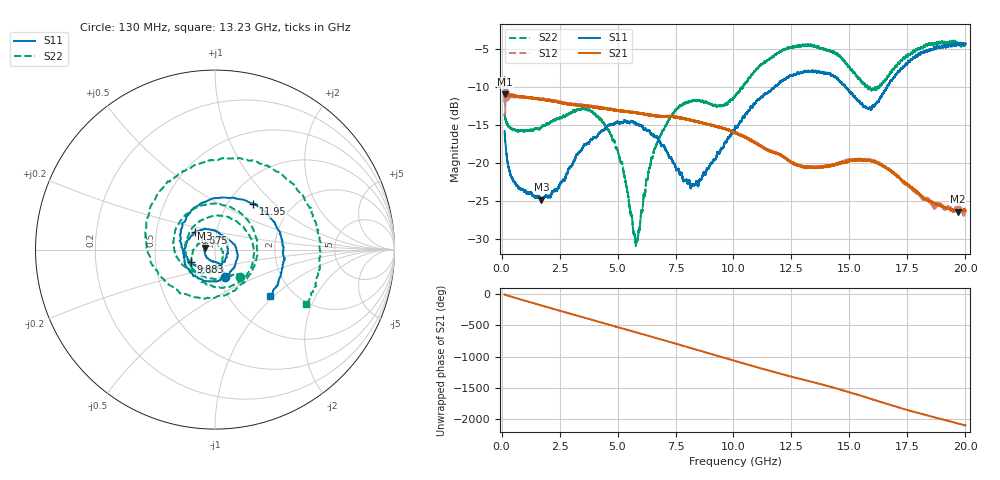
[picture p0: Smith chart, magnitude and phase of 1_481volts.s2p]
!Created with skrf (http://scikit-rf.org).
# GHz S RI R 50.0
!freq ReS11 ImS11 ReS21 ImS21 ReS12 ImS12 ReS22 ImS22
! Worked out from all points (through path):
!   20013 points, 130 MHz to 20 GHz, reference 50 ohm
!   highest |S21| = -10.97 dB at 158 MHz (marker M1); lowest = -26.4 dB at 19.67 GHz (marker M2)
!   group delay of S21, straight-line fit = 292 ps
!   lowest |S11| = -24.8 dB at 1.717 GHz (marker M3), VSWR 1.12, Z = 44.6 + j0.794 ohm
!   |S11| at or under -10 dB: start of sweep to 11.78 GHz; 11.78128 GHz to 11.78365 GHz (2.372 MHz wide, 0.0201 % of centre); 14.83 GHz to 16.62 GHz (1.796 GHz wide, 11.4 % of centre)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
!   |S22| runs from -31.0 to -3.9 dB; largest |S21 - S12| = 0.097
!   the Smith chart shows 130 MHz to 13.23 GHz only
!   S11 on the Smith chart (normalised r, x): 130 MHz: 1.07, -0.33; 6.675 GHz: 0.79, +0.15; 9.883 GHz: 0.76, -0.11; 11.95 GHz: 1.30, +0.74; 13.23 GHz: 1.54, -0.94
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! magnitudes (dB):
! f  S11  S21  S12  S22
! 130 MHz  -15.8  -11.1  -12.1  -13.7
! 158 MHz  -17.2  -11.0  -13.6  -14.2
! 570 MHz  -22.5  -11.2  -11.3  -15.7
! 1.717 GHz  -24.8  -11.7  -11.7  -15.4
! 3.442 GHz  -18.3  -12.5  -12.4  -13.0
! 4.918 GHz  -14.7  -13.1  -13.0  -18.0
! 5.261 GHz  -14.6  -13.3  -13.2  -21.3
! 5.789 GHz  -14.9  -13.4  -13.4  -30.6
! 6.675 GHz  -16.7  -13.9  -13.8  -17.6
! 6.754 GHz  -16.9  -13.9  -13.9  -17.1
! 8.232 GHz  -22.8  -14.4  -14.5  -11.9
! 9.883 GHz  -16.4  -15.8  -15.8  -11.7
! 10.06 GHz  -15.4  -16.0  -16.0  -11.3
! 11.95 GHz  -9.6  -18.9  -18.8  -5.5
! 13.23 GHz  -7.9  -20.6  -20.5  -4.6
! 13.38 GHz  -7.9  -20.6  -20.6  -4.5
! 14.52 GHz  -9.1  -20.1  -20.1  -5.8
! 15.85 GHz  -12.9  -19.7  -19.6  -10.3
! 16.69 GHz  -9.7  -20.8  -20.8  -8.6
! 18.36 GHz  -5.3  -24.9  -24.7  -4.6
! 19.67 GHz  -4.4  -26.4  -25.6  -4.3
! 20 GHz  -4.4  -26.3  -26.5  -4.3
